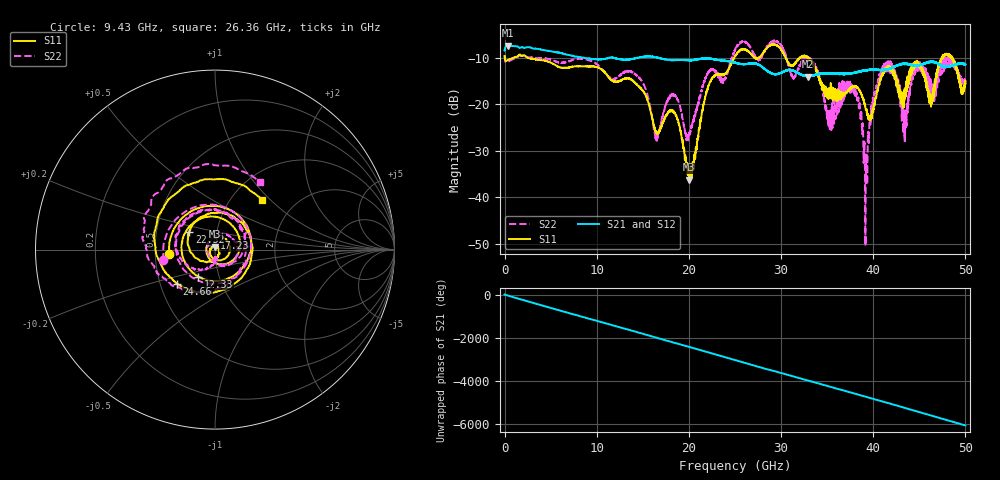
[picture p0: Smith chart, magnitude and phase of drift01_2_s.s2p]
!Created with skrf (http://scikit-rf.org).
# Hz S RI R 50.0
!freq ReS11 ImS11 ReS21 ImS21 ReS12 ImS12 ReS22 ImS22
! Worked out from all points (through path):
!   10001 points, 300 kHz to 50 GHz, reference 50 ohm
!   highest |S21| = -7.34 dB at 315.3 MHz (marker M1); lowest = -14.0 dB at 32.94 GHz (marker M2)
!   group delay of S21, straight-line fit = 335 ps
!   lowest |S11| = -36.2 dB at 20.01 GHz (marker M3), VSWR 1.03, Z = 50 + j1.55 ohm
!   |S11| at or under -10 dB: 2.566 GHz to 24.9 GHz (22.34 GHz wide, 163 % of centre); 30.49 GHz to 32.01 GHz (1.521 GHz wide, 4.87 % of centre); 33.04 GHz to 47.42 GHz (14.38 GHz wide, 35.7 % of centre) (the widest 3 of 25)
!   |S22| runs from -50.5 to -6.2 dB; largest |S21 - S12| = 0.0083
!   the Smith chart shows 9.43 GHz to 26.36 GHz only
!   S11 on the Smith chart (normalised r, x): 9.43 GHz: 0.59, -0.03; 12.33 GHz: 0.80, -0.25; 17.23 GHz: 0.98, +0.13; 22.32 GHz: 0.74, +0.15; 24.66 GHz: 0.61, -0.25; 26.36 GHz: 1.39, +0.89
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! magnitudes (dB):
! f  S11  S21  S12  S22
! 300 kHz  -9.6  -8.4  -8.5  -9.4
! 315.3 MHz  -10.5  -7.3  -7.3  -10.9
! 8.335 GHz  -11.8  -9.9  -9.9  -10.2
! 9.43 GHz  -11.8  -10.2  -10.2  -10.7
! 12.33 GHz  -15.1  -10.2  -10.2  -14.0
! 16.67 GHz  -26.2  -10.0  -10.0  -27.0
! 17.23 GHz  -23.7  -10.2  -10.2  -21.6
! 20.01 GHz  -36.2  -10.5  -10.5  -26.6
! 22.32 GHz  -15.2  -10.2  -10.2  -12.7
! 24.66 GHz  -11.0  -10.8  -10.9  -10.1
! 25 GHz  -9.6  -11.0  -11.0  -8.3
! 26.36 GHz  -8.4  -11.3  -11.3  -7.0
! 32.94 GHz  -10.0  -14.0  -13.9  -10.0
! 33.34 GHz  -10.9  -13.8  -13.8  -10.6
! 35.22 GHz  -17.0  -13.3  -13.3  -21.6
! 37.97 GHz  -16.0  -13.1  -13.1  -17.4
! 39.17 GHz  -20.8  -12.7  -12.6  -42.1
! 40.16 GHz  -20.1  -12.6  -12.5  -17.4
! 41.67 GHz  -12.2  -12.3  -12.3  -11.2
! 43.37 GHz  -19.0  -11.2  -11.3  -23.6
! 44.86 GHz  -11.5  -11.7  -11.6  -11.8
! 50 GHz  -15.5  -11.4  -11.3  -15.1
